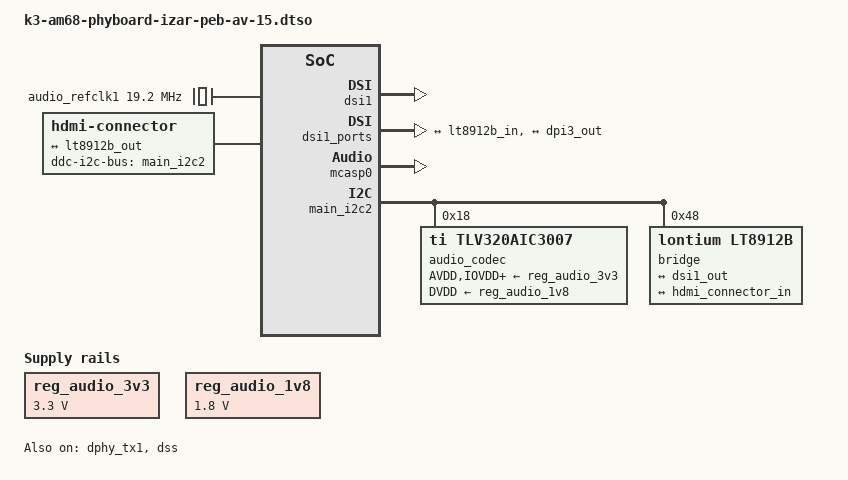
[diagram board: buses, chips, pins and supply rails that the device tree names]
// SPDX-License-Identifier: GPL-2.0-only OR MIT
/*
 * Copyright (C) 2026 PHYTEC Messtechnik GmbH
 * Author: Dominik Haller <d.haller@phytec.de>
 */

/dts-v1/;
/plugin/;

#include <dt-bindings/gpio/gpio.h>
#include "k3-pinctrl.h"

&{/} {
	audio_refclk1: audio-clock {
		compatible = "fixed-clock";
		#clock-cells = <0>;
		clock-frequency = <19200000>;
	};

	hdmi: hdmi-connector {
		compatible = "hdmi-connector";
		label = "hdmi";
		type = "a";
		ddc-i2c-bus = <&main_i2c2>;

		port {
			hdmi_connector_in: endpoint {
				remote-endpoint = <&lt8912b_out>;
			};
		};
	};

	reg_audio_3v3: regulator-audio-3v3 {
		compatible = "regulator-fixed";
		regulator-name = "VCC3V3_AUDIO";
		regulator-min-microvolt = <3300000>;
		regulator-max-microvolt = <3300000>;
		regulator-always-on;
	};

	reg_audio_1v8: regulator-audio-1v8 {
		compatible = "regulator-fixed";
		regulator-name = "VCC1V8_AUDIO";
		regulator-min-microvolt = <1800000>;
		regulator-max-microvolt = <1800000>;
		regulator-always-on;
	};

	sound {
		compatible = "simple-audio-card";
		simple-audio-card,name = "PEB-AV-15";
		simple-audio-card,widgets =
			"Headphone", "Headphone Jack",
			"Microphone", "Mic Jack";
		simple-audio-card,routing =
			"Headphone Jack", "HPLOUT",
			"Headphone Jack", "HPROUT",
			"MIC3R", "Mic Jack",
			"Mic Jack", "Mic Bias";
		simple-audio-card,format = "dsp_b";
		simple-audio-card,bitclock-inversion;
		simple-audio-card,bitclock-master = <&link0_codec>;
		simple-audio-card,frame-master = <&link0_codec>;

		link0_cpu: simple-audio-card,cpu {
			sound-dai = <&mcasp0>;
		};

		link0_codec: simple-audio-card,codec {
			sound-dai = <&audio_codec>;
			clocks = <&audio_refclk1>;
		};
	};

};

&dphy_tx1 {
	status = "okay";
};

&dsi1 {
	status = "okay";
};

&dsi1_ports {
	#address-cells = <1>;
	#size-cells = <0>;
	port@0 {
		reg = <0>;
		dsi1_out: endpoint {
			remote-endpoint = <&lt8912b_in>;
		};
	};

	port@1 {
		reg = <1>;
		dsi1_in: endpoint {
			remote-endpoint = <&dpi3_out>;
		};
	};
};

&dss {
	status = "okay";
};

&dss_ports {
	#address-cells = <1>;
	#size-cells = <0>;

	port@3 {
		reg = <3>;
		dpi3_out: endpoint {
			remote-endpoint = <&dsi1_in>;
		};
	};
};

&mcasp0 {
	pinctrl-names = "default";
	pinctrl-0 = <&mcasp0_pins>;

	#sound-dai-cells = <0>;

	op-mode = <0>;	/* MCASP_IIS_MODE */
	tdm-slots = <2>;

	/* 4 serializers */
	serial-dir = <  /* 0: INACTIVE, 1: TX, 2: RX */
		2 0 0 1
		0 0 0 0
		0 0 0 0
		0 0 0 0
	>;

	tx-num-evt = <32>;
	rx-num-evt = <32>;
	status = "okay";
};

&main_i2c2 {
	#address-cells = <1>;
	#size-cells = <0>;

	audio_codec: audio-codec@18 {
		compatible = "ti,tlv320aic3007";
		reg = <0x18>;
		#sound-dai-cells = <0>;
		ai3x-micbias-vg = <2>;
		AVDD-supply = <&reg_audio_3v3>;
		IOVDD-supply = <&reg_audio_3v3>;
		DRVDD-supply = <&reg_audio_3v3>;
		DVDD-supply = <&reg_audio_1v8>;
	};

	bridge@48 {
		compatible = "lontium,lt8912b";
		reg = <0x48>;

		ports {
			#address-cells = <1>;
			#size-cells = <0>;

			port@0 {
				reg = <0>;
				lt8912b_in: endpoint {
					data-lanes = <0 1 2 3>;
					remote-endpoint = <&dsi1_out>;
				};
			};

			port@1 {
				reg = <1>;
				lt8912b_out: endpoint {
					remote-endpoint = <&hdmi_connector_in>;
				};
			};
		};
	};
};

&main_pmx0 {
	mcasp0_pins: mcasp0-default-pins {
		pinctrl-single,pins = <
			J721S2_IOPAD(0x03c, PIN_INPUT, 1) /* (U27) WCLK, MCASP0_AFSX.MCASP0_AFSX */
			J721S2_IOPAD(0x038, PIN_INPUT, 1) /* (AB28) BCLK, MCASP0_ACLKX.MCASP0_ACLKX */
			J721S2_IOPAD(0x040, PIN_OUTPUT, 1) /* (AC28) DOUT, MCASP0_AXR0.MCASP0_AXR0 */
			J721S2_IOPAD(0x07c, PIN_INPUT, 1) /* (T27) DIN, MCASP0_AXR3.MCASP0_AXR3 */
		>;
	};
};
